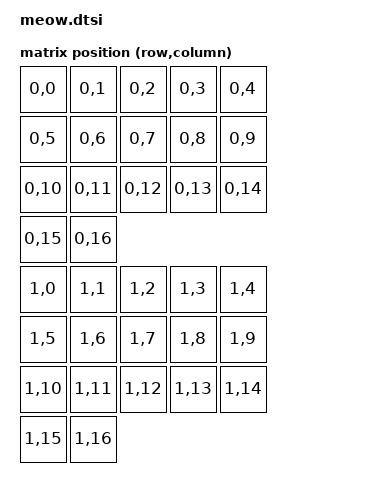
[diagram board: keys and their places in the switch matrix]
#include "meow-layouts.dtsi"
#include <dt-bindings/zmk/matrix_transform.h>

/ {
    chosen {
        zmk,physical-layout = &physical_layout_meow;
    };

    kscan0: kscan0 {
        compatible = "zmk,kscan-gpio-direct";
        wakeup-source;
    };

    matrix_transform0: matrix_transform0 {
        compatible = "zmk,matrix-transform";
        columns = <17>;
        rows = <2>;
        map = <
            RC(0,0) RC(0,1) RC(0,2) RC(0,3) RC(0,4)
            RC(0,5) RC(0,6) RC(0,7) RC(0,8) RC(0,9)
            RC(0,10) RC(0,11) RC(0,12) RC(0,13) RC(0,14)
            RC(0,15) RC(0,16)
            RC(1,0) RC(1,1) RC(1,2) RC(1,3) RC(1,4)
            RC(1,5) RC(1,6) RC(1,7) RC(1,8) RC(1,9)
            RC(1,10) RC(1,11) RC(1,12) RC(1,13) RC(1,14)
            RC(1,15) RC(1,16)
        >;
    };
};

&physical_layout_meow {
    transform = <&matrix_transform0>;
};
